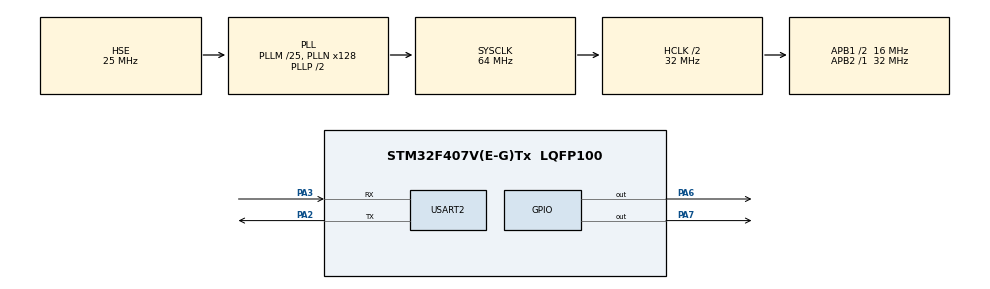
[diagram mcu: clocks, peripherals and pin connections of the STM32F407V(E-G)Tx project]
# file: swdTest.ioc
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Mcu.Family=STM32F4
Mcu.Name=STM32F407V(E-G)Tx
Mcu.Package=LQFP100
NVIC.PriorityGroup=NVIC_PRIORITYGROUP_4
PA13.Mode=Trace_Synchro_4bits_JTAG
PA13.Signal=SYS_JTMS-SWDIO
PA14.Mode=Trace_Synchro_4bits_JTAG
PA14.Signal=SYS_JTCK-SWCLK
PA15.Mode=Trace_Synchro_4bits_JTAG
PA15.Signal=SYS_JTDI
PA2.Mode=Asynchronous
PA2.Signal=USART2_TX
PA3.Mode=Asynchronous
PA3.Signal=USART2_RX
PA6.Signal=GPIO_Output
PA7.Signal=GPIO_Output
PB3.Mode=Trace_Synchro_4bits_JTAG
PB3.Signal=SYS_JTDO-SWO
PE2.Mode=Trace_Synchro_4bits_JTAG
PE2.Signal=SYS_TRACECLK
PE3.Mode=Trace_Synchro_4bits_JTAG
PE3.Signal=SYS_TRACED0
PE4.Mode=Trace_Synchro_4bits_JTAG
PE4.Signal=SYS_TRACED1
PE5.Mode=Trace_Synchro_4bits_JTAG
PE5.Signal=SYS_TRACED2
PE6.Mode=Trace_Synchro_4bits_JTAG
PE6.Signal=SYS_TRACED3
PH0-OSC_IN.Mode=HSE-External-Oscillator
PH0-OSC_IN.Signal=RCC_OSC_IN
PH1-OSC_OUT.Mode=HSE-External-Oscillator
PH1-OSC_OUT.Signal=RCC_OSC_OUT
ProjectManager.HeapSize=0x200
ProjectManager.StackSize=0x400
ProjectManager.TargetToolchain=STM32CubeIDE
RCC.48MHZClocksFreq_Value=32000000
RCC.AHBCLKDivider=RCC_SYSCLK_DIV2
RCC.AHBFreq_Value=32000000
RCC.APB1CLKDivider=RCC_HCLK_DIV2
RCC.APB1Freq_Value=16000000
RCC.APB1TimFreq_Value=32000000
RCC.APB2Freq_Value=32000000
RCC.APB2TimFreq_Value=32000000
RCC.CortexFreq_Value=32000000
RCC.HCLKFreq_Value=32000000
RCC.HSE_VALUE=25000000
RCC.HSI_VALUE=16000000
RCC.LSE_VALUE=32768
RCC.PLLM=25
RCC.PLLN=128
RCC.PLLSourceVirtual=RCC_PLLSOURCE_HSE
RCC.SYSCLKFreq_VALUE=64000000
RCC.SYSCLKSource=RCC_SYSCLKSOURCE_PLLCLK
RCC.VCOOutputFreq_Value=128000000
USART2.VirtualMode=VM_ASYNC
board=custom

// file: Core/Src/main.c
/* USER CODE BEGIN Header */
/**
  ******************************************************************************
  * @file           : main.c
  * @brief          : Main program body
  ******************************************************************************
  * @attention
  *
  * Copyright (c) 2025 STMicroelectronics.
  * All rights reserved.
  *
  * This software is licensed under terms that can be found in the LICENSE file
  * in the root directory of this software component.
  * If no LICENSE file comes with this software, it is provided AS-IS.
  *
  ******************************************************************************
  */
/* USER CODE END Header */
#include "main.h"

/* USER CODE BEGIN Includes */
#include "stdio.h"
/* USER CODE END Includes */

UART_HandleTypeDef huart2;

void SystemClock_Config(void);
static void MX_GPIO_Init(void);
static void MX_USART2_UART_Init(void);

/* USER CODE BEGIN 0 */
int _write(int file, char *ptr, int len)
{
  (void)file;
  int DataIdx;

  for (DataIdx = 0; DataIdx < len; DataIdx++)
  {
//    __io_putchar(*ptr++);
    ITM_SendChar(*ptr++);
  }
  return len;
}

/* USER CODE END 0 */

int main(void)
{

  /* MCU Configuration--------------------------------------------------------*/

  /* Reset of all peripherals, Initializes the Flash interface and the Systick. */
  HAL_Init();

  /* Configure the system clock */
  SystemClock_Config();

  /* USER CODE BEGIN SysInit */
  // 🔑 Enable DWT/ITM for SWV printf to work
  CoreDebug->DEMCR |= CoreDebug_DEMCR_TRCENA_Msk;
  DWT->CTRL |= DWT_CTRL_CYCCNTENA_Msk;
  ITM->LAR  = 0xC5ACCE55;
  ITM->TCR  = 0x10009;
  ITM->TER  = 1;
  /* USER CODE END SysInit */

  /* Initialize all configured peripherals */
  MX_GPIO_Init();
  MX_USART2_UART_Init();
  /* USER CODE BEGIN 2 */
  HAL_GPIO_WritePin(GPIOA, GPIO_PIN_6, SET);
  /* USER CODE END 2 */

  /* Infinite loop */
  /* USER CODE BEGIN WHILE */
  while (1)
  {
	  HAL_GPIO_TogglePin(GPIOA, GPIO_PIN_7);
	  printf("I can finally talk now");
	  HAL_Delay(100);
    /* USER CODE END WHILE */

  }
}

void SystemClock_Config(void)
{
  RCC_OscInitTypeDef RCC_OscInitStruct = {0};
  RCC_ClkInitTypeDef RCC_ClkInitStruct = {0};

  /** Configure the main internal regulator output voltage
  */
  __HAL_RCC_PWR_CLK_ENABLE();
  __HAL_PWR_VOLTAGESCALING_CONFIG(PWR_REGULATOR_VOLTAGE_SCALE1);

  /** Initializes the RCC Oscillators according to the specified parameters
  * in the RCC_OscInitTypeDef structure.
  */
  RCC_OscInitStruct.OscillatorType = RCC_OSCILLATORTYPE_HSE;
  RCC_OscInitStruct.HSEState = RCC_HSE_ON;
  RCC_OscInitStruct.PLL.PLLState = RCC_PLL_ON;
  RCC_OscInitStruct.PLL.PLLSource = RCC_PLLSOURCE_HSE;
  RCC_OscInitStruct.PLL.PLLM = 25;
  RCC_OscInitStruct.PLL.PLLN = 128;
  RCC_OscInitStruct.PLL.PLLP = RCC_PLLP_DIV2;
  RCC_OscInitStruct.PLL.PLLQ = 4;
  if (HAL_RCC_OscConfig(&RCC_OscInitStruct) != HAL_OK)
  {
    Error_Handler();
  }

  /** Initializes the CPU, AHB and APB buses clocks
  */
  RCC_ClkInitStruct.ClockType = RCC_CLOCKTYPE_HCLK|RCC_CLOCKTYPE_SYSCLK
                              |RCC_CLOCKTYPE_PCLK1|RCC_CLOCKTYPE_PCLK2;
  RCC_ClkInitStruct.SYSCLKSource = RCC_SYSCLKSOURCE_PLLCLK;
  RCC_ClkInitStruct.AHBCLKDivider = RCC_SYSCLK_DIV2;
  RCC_ClkInitStruct.APB1CLKDivider = RCC_HCLK_DIV2;
  RCC_ClkInitStruct.APB2CLKDivider = RCC_HCLK_DIV1;

  if (HAL_RCC_ClockConfig(&RCC_ClkInitStruct, FLASH_LATENCY_1) != HAL_OK)
  {
    Error_Handler();
  }
}

static void MX_USART2_UART_Init(void)
{

  huart2.Instance = USART2;
  huart2.Init.BaudRate = 115200;
  huart2.Init.WordLength = UART_WORDLENGTH_8B;
  huart2.Init.StopBits = UART_STOPBITS_1;
  huart2.Init.Parity = UART_PARITY_NONE;
  huart2.Init.Mode = UART_MODE_TX_RX;
  huart2.Init.HwFlowCtl = UART_HWCONTROL_NONE;
  huart2.Init.OverSampling = UART_OVERSAMPLING_16;
  if (HAL_UART_Init(&huart2) != HAL_OK)
  {
    Error_Handler();
  }

}

static void MX_GPIO_Init(void)
{
  GPIO_InitTypeDef GPIO_InitStruct = {0};

  /* GPIO Ports Clock Enable */
  __HAL_RCC_GPIOE_CLK_ENABLE();
  __HAL_RCC_GPIOH_CLK_ENABLE();
  __HAL_RCC_GPIOA_CLK_ENABLE();
  __HAL_RCC_GPIOB_CLK_ENABLE();

  /*Configure GPIO pin Output Level */
  HAL_GPIO_WritePin(GPIOA, GPIO_PIN_6|GPIO_PIN_7, GPIO_PIN_RESET);

  /*Configure GPIO pins : PA6 PA7 */
  GPIO_InitStruct.Pin = GPIO_PIN_6|GPIO_PIN_7;
  GPIO_InitStruct.Mode = GPIO_MODE_OUTPUT_PP;
  GPIO_InitStruct.Pull = GPIO_NOPULL;
  GPIO_InitStruct.Speed = GPIO_SPEED_FREQ_LOW;
  HAL_GPIO_Init(GPIOA, &GPIO_InitStruct);

}

void Error_Handler(void)
{
  __disable_irq();
  while (1)
  {
  }
}
